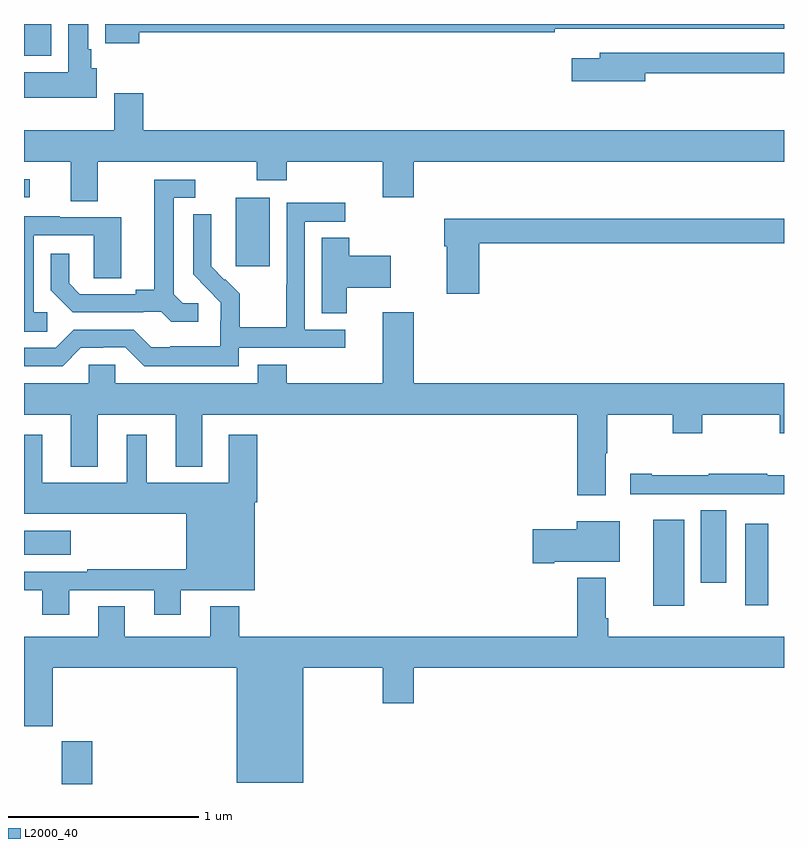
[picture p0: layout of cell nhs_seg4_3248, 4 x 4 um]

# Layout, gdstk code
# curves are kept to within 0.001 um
import gdstk
lib = gdstk.Library(unit=1e-6, precision=1e-09)
def R(c, l, rs):  # rectangles x0, y0, x1, y1
    for r in rs: c.add(gdstk.rectangle(r[:2], r[2:], *l))
def P(c, l, *ps):  # polygons
    for p in ps: c.add(gdstk.Polygon(p, *l))
L2000_40 = (2000, 40)

nhs_seg4_3248 = lib.new_cell('nhs_seg4_3248')
R(nhs_seg4_3248, L2000_40, [(283.198,770.9,283.358,771.124), (286.313,771.837,286.474,772.291), (286.796,771.84,286.918,772.27), (286.562,771.96,286.696,772.34), (283,772.106,283.246,772.234), (284.114,773.625,284.293,773.986), (283,773.988,283.03,774.084), (283,774.734,283.144,774.9)])
P(nhs_seg4_3248, L2000_40, [(283.606,774.856),(285.794,774.856),(285.794,774.876),(287,774.876),(287,774.9),(283.427,774.9),(283.427,774.8),(283.606,774.8)],
  [(283.384,774.666),(283.354,774.666),(283.354,774.766),(283.339,774.766),(283.339,774.9),(283.232,774.9),(283.232,774.646),(283,774.646),(283,774.512),(283.384,774.512)],
  [(286.27,774.642),(287,774.642),(287,774.75),(286.031,774.75),(286.031,774.721),(285.882,774.721),(285.882,774.599),(286.27,774.599)],
  [(283.387,774.176),(284.224,774.176),(284.224,774.077),(284.384,774.077),(284.384,774.176),(284.888,774.176),(284.888,773.988),(285.052,773.988),(285.052,774.176),(287,774.176),(287,774.34),(283.628,774.34),(283.628,774.535),(283.475,774.535),(283.475,774.34),(283,774.34),(283,774.176),(283.247,774.176),(283.247,773.968),(283.387,773.968)],
  [(283.918,773.43),(283.836,773.43),(283.789,773.477),(283.789,773.985),(283.9,773.985),(283.9,774.081),(283.685,774.081),(283.685,773.501),(283.589,773.501),(283.589,773.478),(283.294,773.478),(283.237,773.535),(283.237,773.692),(283.14,773.692),(283.14,773.498),(283.256,773.382),(283.628,773.382),(283.628,773.385),(283.722,773.385),(283.774,773.333),(283.918,773.333)],
  [(284.13,773.196),(284.692,773.196),(284.692,773.292),(284.478,773.292),(284.478,773.859),(284.692,773.859),(284.692,773.958),(284.382,773.958),(284.382,773.528),(284.38,773.528),(284.38,773.305),(284.135,773.305),(284.135,773.479),(284.058,773.556),(284.055,773.553),(283.985,773.624),(283.986,773.9),(283.89,773.9),(283.89,773.582),(284.036,773.434),(284.036,773.337),(284.034,773.337),(284.034,773.203),(283.771,773.203),(283.771,773.199),(283.671,773.199),(283.578,773.292),(283.263,773.292),(283.167,773.196),(283,773.196),(283,773.1),(283.203,773.1),(283.299,773.196),(283.418,773.196),(283.418,773.199),(283.533,773.199),(283.633,773.099),(284.13,773.099)],
  [(283.123,773.382),(283.05,773.382),(283.05,773.787),(283.368,773.787),(283.368,773.563),(283.513,773.563),(283.513,773.883),(283.189,773.883),(283.189,773.887),(283,773.887),(283,773.281),(283.123,773.281)],
  [(285.395,773.746),(287,773.746),(287,773.875),(285.212,773.875),(285.212,773.729),(285.224,773.729),(285.224,773.481),(285.395,773.481)],
  [(284.698,773.513),(284.929,773.513),(284.929,773.679),(284.711,773.679),(284.711,773.774),(284.567,773.774),(284.567,773.377),(284.698,773.377)],
  [(283.387,772.844),(283.799,772.844),(283.799,772.571),(283.939,772.571),(283.939,772.844),(285.911,772.844),(285.911,772.419),(286.063,772.419),(286.063,772.64),(286.071,772.64),(286.071,772.844),(286.414,772.844),(286.414,772.745),(286.569,772.745),(286.569,772.844),(286.978,772.844),(286.978,772.745),(287,772.745),(287,773.008),(285.052,773.008),(285.052,773.383),(284.888,773.383),(284.888,773.008),(284.384,773.008),(284.384,773.107),(284.231,773.107),(284.231,773.008),(283.479,773.008),(283.479,773.106),(283.341,773.106),(283.341,773.008),(283,773.008),(283,772.844),(283.247,772.844),(283.247,772.571),(283.387,772.571)],
  [(283.237,771.921),(283.685,771.921),(283.685,771.792),(283.825,771.792),(283.825,771.92),(284.215,771.92),(284.215,772.382),(284.228,772.382),(284.228,772.738),(284.078,772.738),(284.078,772.486),(283.645,772.486),(283.645,772.738),(283.541,772.738),(283.541,772.486),(283.096,772.486),(283.096,772.738),(283,772.738),(283,772.322),(283.853,772.322),(283.853,772.03),(283.333,772.03),(283.333,772.017),(283,772.017),(283,771.921),(283.097,771.921),(283.097,771.792),(283.237,771.792)],
  [(286.466,772.425),(286.8,772.425),(286.8,772.424),(287,772.424),(287,772.524),(286.913,772.524),(286.913,772.534),(286.603,772.534),(286.603,772.524),(286.303,772.524),(286.303,772.534),(286.191,772.534),(286.191,772.424),(286.466,772.424)],
  [(285.79,772.07),(286.135,772.07),(286.135,772.282),(285.908,772.282),(285.908,772.241),(285.678,772.241),(285.678,772.063),(285.79,772.063)],
  [(284.47,771.512),(284.888,771.512),(284.888,771.324),(285.052,771.324),(285.052,771.512),(287,771.512),(287,771.676),(286.076,771.676),(286.076,771.772),(286.063,771.772),(286.063,771.985),(285.911,771.985),(285.911,771.676),(284.132,771.676),(284.132,771.835),(283.979,771.835),(283.979,771.676),(283.531,771.676),(283.531,771.836),(283.391,771.836),(283.391,771.676),(283,771.676),(283,771.203),(283.15,771.203),(283.15,771.512),(284.12,771.512),(284.12,770.906),(284.47,770.906)])

lib.write_gds('nhs_seg4_3248.gds')
